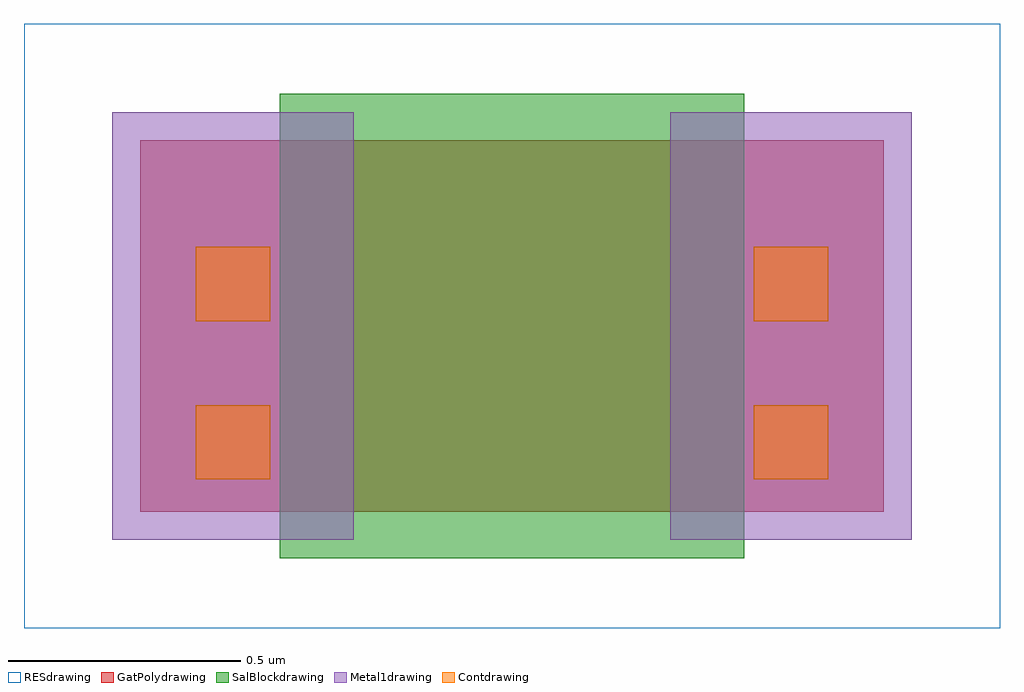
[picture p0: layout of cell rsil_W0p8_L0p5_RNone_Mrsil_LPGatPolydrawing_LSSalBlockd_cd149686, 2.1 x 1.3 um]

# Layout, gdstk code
import gdstk
lib = gdstk.Library(unit=1e-6, precision=1e-09)
def R(c, l, rs):  # rectangles x0, y0, x1, y1
    for r in rs: c.add(gdstk.rectangle(r[:2], r[2:], *l))
GatPolydrawing = (5, 0)
Contdrawing = (6, 0)
Metal1drawing = (8, 0)
RESdrawing = (24, 0)
SalBlockdrawing = (28, 0)

rectangle_gdsfactorypcom = lib.new_cell('rectangle_gdsfactorypcomponentspshapesprectangle_S0p8_0_2ffcd98e')
R(rectangle_gdsfactorypcom, GatPolydrawing, [(-0.4,-0.4,0.4,0.4)])

c_rectangle_gdsfactorypcom = lib.new_cell('rectangle_gdsfactorypcomponentspshapesprectangle_S1_1_L_e6b297ee')
R(c_rectangle_gdsfactorypcom, SalBlockdrawing, [(-0.5,-0.5,0.5,0.5)])

c_rectangle_gdsfactorypcom_ = lib.new_cell('rectangle_gdsfactorypcomponentspshapesprectangle_S0p4_0_ec7f8843')
R(c_rectangle_gdsfactorypcom_, GatPolydrawing, [(0,0,0.4,0.8)])

c_rectangle_gdsfactorypcom__ = lib.new_cell('rectangle_gdsfactorypcomponentspshapesprectangle_S0p16__bf15bdcd')
R(c_rectangle_gdsfactorypcom__, Contdrawing, [(0,0,0.16,0.16)])

c_rectangle_gdsfactorypcom___ = lib.new_cell('rectangle_gdsfactorypcomponentspshapesprectangle_S0p52__17e781bd')
R(c_rectangle_gdsfactorypcom___, Metal1drawing, [(0,0,0.52,0.92)])

c_rectangle_gdsfactorypcom____ = lib.new_cell('rectangle_gdsfactorypcomponentspshapesprectangle_S2p1_1_cfc6f632')
R(c_rectangle_gdsfactorypcom____, RESdrawing, [(-1.05,-0.65,1.05,0.65)])

rsil_w0p8_l0p5_rnone_mrs = lib.new_cell('rsil_W0p8_L0p5_RNone_Mrsil_LPGatPolydrawing_LSSalBlockd_cd149686')
rsil_w0p8_l0p5_rnone_mrs.add(gdstk.Reference(rectangle_gdsfactorypcom, (0,0)))
rsil_w0p8_l0p5_rnone_mrs.add(gdstk.Reference(c_rectangle_gdsfactorypcom, (0,0)))
rsil_w0p8_l0p5_rnone_mrs.add(gdstk.Reference(c_rectangle_gdsfactorypcom_, (-0.8,-0.4)))
rsil_w0p8_l0p5_rnone_mrs.add(gdstk.Reference(c_rectangle_gdsfactorypcom_, (0.4,-0.4)))
rsil_w0p8_l0p5_rnone_mrs.add(gdstk.Reference(c_rectangle_gdsfactorypcom__, (-0.68,-0.33)))
rsil_w0p8_l0p5_rnone_mrs.add(gdstk.Reference(c_rectangle_gdsfactorypcom__, (0.52,-0.33)))
rsil_w0p8_l0p5_rnone_mrs.add(gdstk.Reference(c_rectangle_gdsfactorypcom__, (-0.68,0.01)))
rsil_w0p8_l0p5_rnone_mrs.add(gdstk.Reference(c_rectangle_gdsfactorypcom__, (0.52,0.01)))
rsil_w0p8_l0p5_rnone_mrs.add(gdstk.Reference(c_rectangle_gdsfactorypcom___, (-0.86,-0.46)))
rsil_w0p8_l0p5_rnone_mrs.add(gdstk.Reference(c_rectangle_gdsfactorypcom___, (0.34,-0.46)))
rsil_w0p8_l0p5_rnone_mrs.add(gdstk.Reference(c_rectangle_gdsfactorypcom____, (0,0)))

lib.write_gds('rsil_W0p8_L0p5_RNone_Mrsil_LPGatPolydrawing_LSSalBlockd_cd149686.gds')
